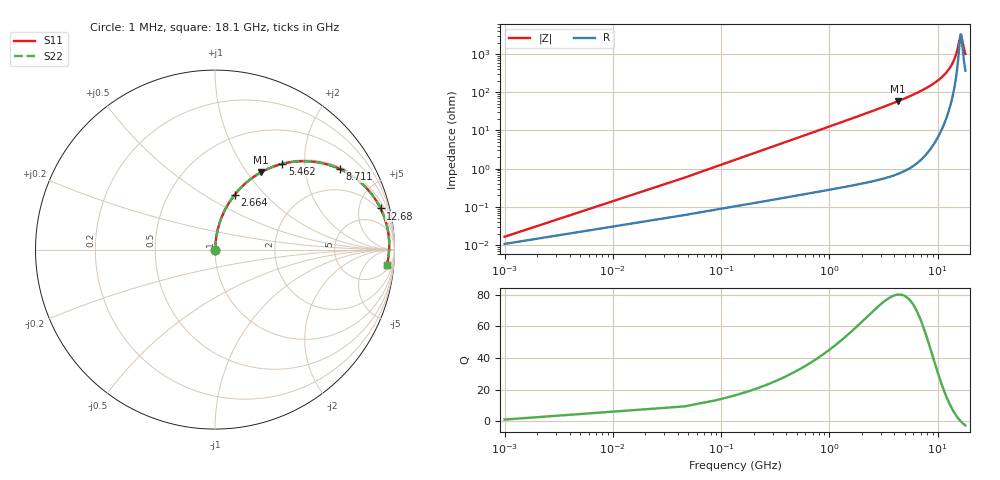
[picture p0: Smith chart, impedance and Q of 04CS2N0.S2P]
! Coilcraft 0402CS-2N0 Chip Inductor
! 29 May 2002
# MHZ S MA R 50
!Freq  MagS11  AngS11  MagS21  AngS21  MagS12  AngS12  MagS22  AngS22
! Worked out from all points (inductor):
!   403 points, 1 MHz to 18.1 GHz, reference 50 ohm
!   read as one part in series: L = 2 nH near 91.26 MHz
!   highest Q = 80.1 at 4.333 GHz (marker M1), where L = 2.15 nH
!   self-resonance near 16.44 GHz
!   S11 on the Smith chart (normalised r, x): 1 MHz: 1.00, +0.00; 2.664 GHz: 1.01, +0.69; 5.462 GHz: 1.02, +1.54; 8.711 GHz: 1.07, +3.05; 12.68 GHz: 1.64, +7.83; 18.1 GHz: 8, -19
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1  0.000165 49.6  0.9999 -0.0  0.9999 -0.0  0.000165 49.6
136.39  0.01715 85.6  0.9988 -1.0  0.9988 -1.0  0.01715 85.6
181.52  0.02281 85.7  0.9985 -1.3  0.9985 -1.3  0.02281 85.7
271.78  0.03412 85.6  0.998 -2.0  0.998 -2.0  0.03412 85.6
452.3  0.05671 84.9  0.9965 -3.2  0.9965 -3.2  0.05671 84.9
768.21  0.0961 83.0  0.9929 -5.5  0.9929 -5.5  0.0961 83.0
1264.64  0.1574 79.8  0.9844 -9.1  0.9844 -9.1  0.1574 79.8
1896.46  0.2339 75.5  0.9684 -13.5  0.9684 -13.5  0.2339 75.5
2663.67  0.3237 70.3  0.9416 -18.9  0.9416 -18.9  0.3237 70.3
3024.71  0.3645 67.9  0.9263 -21.4  0.9263 -21.4  0.3645 67.9
4333.48  0.5025 59.1  0.8584 -30.2  0.8584 -30.2  0.5025 59.1
5461.73  0.6072 51.9  0.7867 -37.4  0.7867 -37.4  0.6072 51.9
6048.42  0.6559 48.2  0.7459 -41.0  0.7459 -41.0  0.6559 48.2
8711.09  0.8274 32.9  0.5433 -55.8  0.5433 -55.8  0.8274 32.9
9072.13  0.8447 31.0  0.515 -57.6  0.515 -57.6  0.8447 31.0
12095.84  0.9407 16.5  0.284 -69.8  0.284 -69.8  0.9407 16.5
12682.53  0.9508 14.0  0.242 -71.4  0.242 -71.4  0.9508 14.0
14081.56  0.9662 8.3  0.1471 -72.6  0.1471 -72.6  0.9662 8.3
15119.55  0.9709 4.5  0.08292 -67.2  0.08292 -67.2  0.9709 4.5
16157.54  0.9708 0.9  0.03336 -28.5  0.03336 -28.5  0.9708 0.9
16428.32  0.9702 0.0  0.02986 -1.6  0.02986 -1.6  0.9702 0.0
18100  0.961 -5.1  0.09569 63.4  0.09569 63.4  0.961 -5.1
